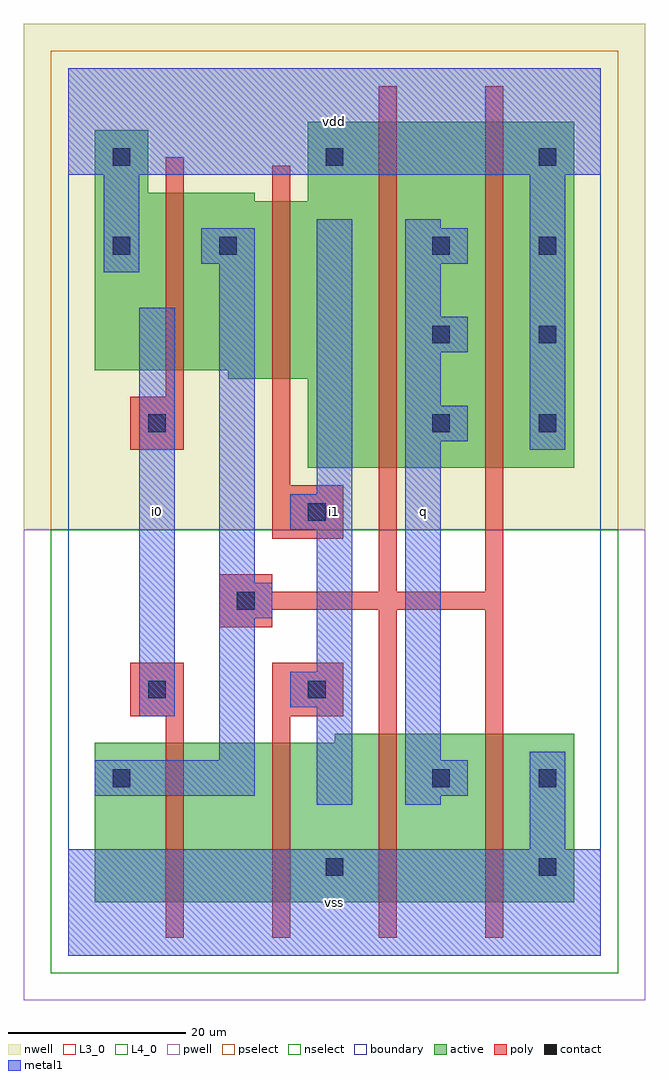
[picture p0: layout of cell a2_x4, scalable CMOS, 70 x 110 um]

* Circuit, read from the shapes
.subckt a2_x4 i0 i1 q vdd vss
M1 n1 i0 n2 VSUBS nfet w=18u l=2u
M2 vss i1 n1 VSUBS nfet w=18u l=2u
M3 q n2 vss VSUBS nfet w=19u l=2u m=2
M4 n2 i0 vdd n3 pfet w=20u l=2u
M5 vdd i1 n2 n3 pfet w=20u l=2u
M6 q n2 vdd n3 pfet w=39u l=2u m=2
.ends

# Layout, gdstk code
import gdstk
lib = gdstk.Library(unit=1e-6, precision=1e-09)
def R(c, l, rs):  # rectangles x0, y0, x1, y1
    for r in rs: c.add(gdstk.rectangle(r[:2], r[2:], *l))
def A(c, l, x, y, w, h, nx, ny, dx, dy):  # array of equal rectangles
    R(c, l, [(x+i*dx, y+j*dy, x+i*dx+w, y+j*dy+h) for i in range(nx) for j in range(ny)])
L3_0 = (3, 0)
L4_0 = (4, 0)
contact = (25, 0)
pwell = (41, 0)
nwell = (42, 0)
active = (43, 0)
pselect = (44, 0)
nselect = (45, 0)
poly = (46, 0)
metal1 = (49, 0)
boundary = (63, 0)

a2_x4 = lib.new_cell('a2_x4')
R(a2_x4, L3_0, [(3,6,57,24), (30,24,57,25)])
R(a2_x4, L4_0, [(27,55,57,65), (18,65,57,66), (3,66,57,85), (3,85,21,86), (27,85,57,94), (3,86,9,93)])
A(a2_x4, contact, 41, 59, 2, 2, 1, 3, 0, 10)
A(a2_x4, contact, 53, 59, 2, 2, 1, 3, 0, 10)
A(a2_x4, contact, 5, 89, 2, 2, 3, 1, 24, 0)
R(a2_x4, contact, [(29,9,31,11), (53,9,55,11), (5,19,7,21), (41,19,43,21), (53,19,55,21), (9,29,11,31), (27,29,29,31), (19,39,21,41), (27,49,29,51), (9,59,11,61), (5,79,7,81), (17,79,19,81)])
R(a2_x4, pwell, [(-5,-5,65,48)])
R(a2_x4, nwell, [(-5,48,65,105)])
R(a2_x4, active, [(3,6,57,24), (30,24,57,25), (27,55,57,65), (18,65,57,66), (3,66,57,85), (3,85,21,86), (27,85,57,94), (3,86,9,93)])
R(a2_x4, pselect, [(-2,48,62,102)])
R(a2_x4, nselect, [(-2,-2,62,48)])
R(a2_x4, poly, [(11,2,13,27), (23,2,25,27), (35,2,37,39), (47,2,49,39), (7,27,13,33), (23,27,31,33), (17,37,23,39), (17,39,49,41), (17,41,23,43), (35,41,37,98), (47,41,49,98), (23,47,31,53), (23,53,25,89), (7,57,13,63), (11,63,13,90)])
A(a2_x4, metal1, 38, 58, 7, 4, 1, 3, 0, 10)
R(a2_x4, metal1, [(0,0,60,12), (52,12,56,23), (28,17,32,28), (38,17,42,18), (3,18,21,22), (38,18,45,22), (17,22,21,38), (38,22,42,58), (8,27,12,73), (25,28,32,32), (28,32,32,48), (17,38,23,42), (17,42,21,78), (25,48,32,52), (28,52,32,83), (52,57,56,88), (38,62,42,68), (38,72,42,78), (4,77,8,88), (15,78,21,82), (38,82,42,83), (0,88,60,100)])
R(a2_x4, boundary, [(0,0,60,100)])
a2_x4.add(gdstk.Label('i0', (10,50), layer=49, texttype=0))
a2_x4.add(gdstk.Label('vss', (30,6), layer=49, texttype=0))
a2_x4.add(gdstk.Label('q', (40,50), layer=49, texttype=0))
a2_x4.add(gdstk.Label('i1', (30,50), layer=49, texttype=0))
a2_x4.add(gdstk.Label('vdd', (30,94), layer=49, texttype=0))

lib.write_gds('a2_x4.gds')
